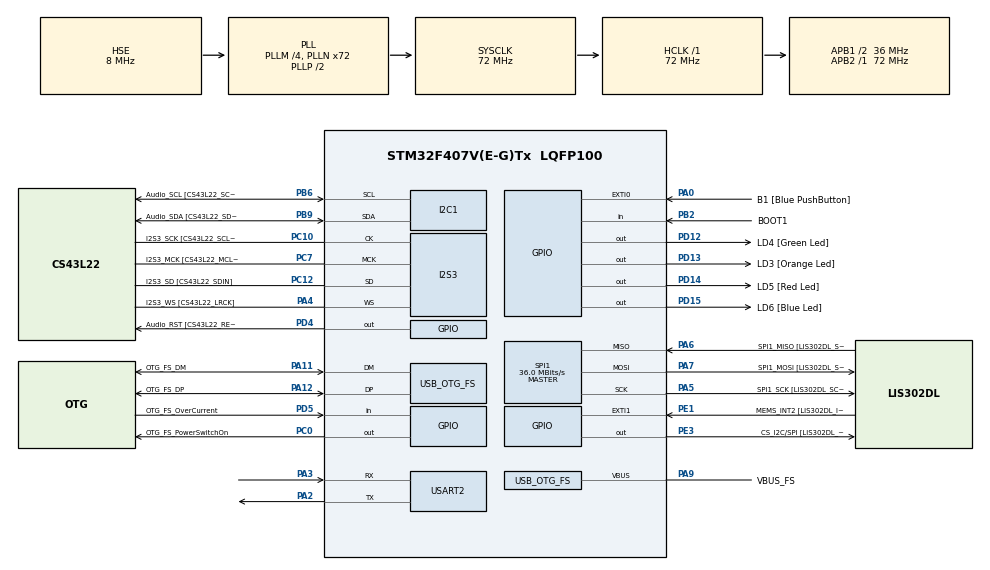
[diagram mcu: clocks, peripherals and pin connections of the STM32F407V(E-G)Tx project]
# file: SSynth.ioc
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Dma.Request0=SPI3_TX
Dma.SPI3_TX.0.Direction=DMA_MEMORY_TO_PERIPH
Dma.SPI3_TX.0.FIFOMode=DMA_FIFOMODE_ENABLE
Dma.SPI3_TX.0.FIFOThreshold=DMA_FIFO_THRESHOLD_FULL
Dma.SPI3_TX.0.Instance=DMA1_Stream7
Dma.SPI3_TX.0.MemBurst=DMA_MBURST_SINGLE
Dma.SPI3_TX.0.MemDataAlignment=DMA_MDATAALIGN_HALFWORD
Dma.SPI3_TX.0.MemInc=DMA_MINC_ENABLE
Dma.SPI3_TX.0.Mode=DMA_CIRCULAR
Dma.SPI3_TX.0.PeriphBurst=DMA_PBURST_SINGLE
Dma.SPI3_TX.0.PeriphDataAlignment=DMA_PDATAALIGN_HALFWORD
Dma.SPI3_TX.0.PeriphInc=DMA_PINC_DISABLE
Dma.SPI3_TX.0.Priority=DMA_PRIORITY_LOW
FREERTOS.Tasks01=defaultTask,24,128,StartDefaultTask,Default,NULL,Dynamic,NULL,NULL
FREERTOS.configUSE_NEWLIB_REENTRANT=1
I2S3.AudioFreq=I2S_AUDIOFREQ_48K
I2S3.AudioFreq-Half_Duplex_Master=I2S_AUDIOFREQ_96K
I2S3.ErrorAudioFreq=-2.34 %
I2S3.ErrorAudioFreq-Half_Duplex_Master=0.8 %
I2S3.FullDuplexMode=I2S_FULLDUPLEXMODE_DISABLE
I2S3.Instance=SPI$Index
I2S3.RealAudioFreq=46.875 KHz
I2S3.RealAudioFreq-Half_Duplex_Master=96.774 KHz
I2S3.VirtualMode=I2S_MODE_MASTER
Mcu.Family=STM32F4
Mcu.Name=STM32F407V(E-G)Tx
Mcu.Package=LQFP100
NVIC.DMA1_Stream7_IRQn=true\:5\:0\:false\:false\:true\:true\:false\:true\:true
NVIC.OTG_FS_IRQn=true\:5\:0\:false\:false\:true\:true\:true\:true\:true
NVIC.PriorityGroup=NVIC_PRIORITYGROUP_4
NVIC.TIM1_UP_TIM10_IRQn=true\:15\:0\:false\:false\:true\:false\:false\:true\:true
NVIC.TimeBase=TIM1_UP_TIM10_IRQn
NVIC.TimeBaseIP=TIM1
PA0-WKUP.GPIO_Label=B1 [Blue PushButton]
PA0-WKUP.GPIO_ModeDefaultEXTI=GPIO_MODE_EVT_RISING
PA0-WKUP.GPIO_PuPd=GPIO_NOPULL
PA0-WKUP.Signal=GPXTI0
PA10.GPIO_Label=OTG_FS_ID
PA10.GPIO_Mode=GPIO_MODE_AF_PP
PA10.GPIO_PuPd=GPIO_NOPULL
PA10.GPIO_Speed=GPIO_SPEED_FREQ_LOW
PA10.Signal=USB_OTG_FS_ID
PA11.GPIO_Label=OTG_FS_DM
PA11.GPIO_Mode=GPIO_MODE_AF_PP
PA11.GPIO_PuPd=GPIO_NOPULL
PA11.GPIO_Speed=GPIO_SPEED_FREQ_LOW
PA11.Mode=Device_Only
PA11.Signal=USB_OTG_FS_DM
PA12.GPIO_Label=OTG_FS_DP
PA12.GPIO_Mode=GPIO_MODE_AF_PP
PA12.GPIO_PuPd=GPIO_NOPULL
PA12.GPIO_Speed=GPIO_SPEED_FREQ_LOW
PA12.Mode=Device_Only
PA12.Signal=USB_OTG_FS_DP
PA13.GPIO_Label=SWDIO
PA13.Mode=Serial_Wire
PA13.Signal=SYS_JTMS-SWDIO
PA14.GPIO_Label=SWCLK
PA14.Mode=Serial_Wire
PA14.Signal=SYS_JTCK-SWCLK
PA2.Mode=Asynchronous
PA2.Signal=USART2_TX
PA3.Mode=Asynchronous
PA3.Signal=USART2_RX
PA4.GPIO_Label=I2S3_WS [CS43L22_LRCK]
PA4.GPIO_Mode=GPIO_MODE_AF_PP
PA4.GPIO_PuPd=GPIO_NOPULL
PA4.GPIO_Speed=GPIO_SPEED_FREQ_LOW
PA4.Mode=Half_Duplex_Master
PA4.Signal=I2S3_WS
PA5.GPIO_Label=SPI1_SCK [LIS302DL_SCL/SPC]
PA5.GPIO_Mode=GPIO_MODE_AF_PP
PA5.GPIO_PuPd=GPIO_NOPULL
PA5.GPIO_Speed=GPIO_SPEED_FREQ_LOW
PA5.Mode=Full_Duplex_Master
PA5.Signal=SPI1_SCK
PA6.GPIO_Label=SPI1_MISO [LIS302DL_SDO]
PA6.GPIO_Mode=GPIO_MODE_AF_PP
PA6.GPIO_PuPd=GPIO_NOPULL
PA6.GPIO_Speed=GPIO_SPEED_FREQ_LOW
PA6.Mode=Full_Duplex_Master
PA6.Signal=SPI1_MISO
PA7.GPIO_Label=SPI1_MOSI [LIS302DL_SDA/SDI/SDO]
PA7.GPIO_Mode=GPIO_MODE_AF_PP
PA7.GPIO_PuPd=GPIO_NOPULL
PA7.GPIO_Speed=GPIO_SPEED_FREQ_LOW
PA7.Mode=Full_Duplex_Master
PA7.Signal=SPI1_MOSI
PA9.GPIO_Label=VBUS_FS
PA9.GPIO_Mode=GPIO_MODE_INPUT
PA9.GPIO_PuPd=GPIO_NOPULL
PA9.Mode=Activate_VBUS
PA9.Signal=USB_OTG_FS_VBUS
PB10.GPIO_Label=CLK_IN [MP45DT02_CLK]
PB10.GPIO_Mode=GPIO_MODE_AF_PP
PB10.GPIO_PuPd=GPIO_NOPULL
PB10.GPIO_Speed=GPIO_SPEED_FREQ_LOW
PB10.Signal=I2S2_CK
PB2.GPIO_Label=BOOT1
PB2.GPIO_Mode=GPIO_MODE_INPUT
PB2.GPIO_PuPd=GPIO_NOPULL
PB2.Signal=GPIO_Input
PB3.GPIO_Label=SWO
PB3.Signal=SYS_JTDO-SWO
PB6.GPIO_Label=Audio_SCL [CS43L22_SCL]
PB6.GPIO_Mode=GPIO_MODE_AF_OD
PB6.GPIO_Pu=GPIO_PULLUP
PB6.GPIO_PuPd=GPIO_NOPULL
PB6.GPIO_Speed=GPIO_SPEED_FREQ_LOW
PB6.Mode=I2C
PB6.Signal=I2C1_SCL
PB9.GPIO_Label=Audio_SDA [CS43L22_SDA]
PB9.GPIO_Mode=GPIO_MODE_AF_OD
PB9.GPIO_Pu=GPIO_PULLUP
PB9.GPIO_PuPd=GPIO_NOPULL
PB9.GPIO_Speed=GPIO_SPEED_FREQ_LOW
PB9.Mode=I2C
PB9.Signal=I2C1_SDA
PC0.GPIO_Label=OTG_FS_PowerSwitchOn
PC0.GPIO_PuPd=GPIO_NOPULL
PC0.GPIO_Speed=GPIO_SPEED_FREQ_LOW
PC0.PinState=GPIO_PIN_SET
PC0.Signal=GPIO_Output
PC10.GPIO_Label=I2S3_SCK [CS43L22_SCLK]
PC10.GPIO_Mode=GPIO_MODE_AF_PP
PC10.GPIO_PuPd=GPIO_NOPULL
PC10.GPIO_Speed=GPIO_SPEED_FREQ_LOW
PC10.Mode=Half_Duplex_Master
PC10.Signal=I2S3_CK
PC12.GPIO_Label=I2S3_SD [CS43L22_SDIN]
PC12.GPIO_Mode=GPIO_MODE_AF_PP
PC12.GPIO_PuPd=GPIO_NOPULL
PC12.GPIO_Speed=GPIO_SPEED_FREQ_LOW
PC12.Mode=Half_Duplex_Master
PC12.Signal=I2S3_SD
PC14-OSC32_IN.GPIO_Label=PC14-OSC32_IN
PC14-OSC32_IN.Mode=LSE-External-Oscillator
PC14-OSC32_IN.Signal=RCC_OSC32_IN
PC15-OSC32_OUT.GPIO_Label=PC15-OSC32_OUT
PC15-OSC32_OUT.Mode=LSE-External-Oscillator
PC15-OSC32_OUT.Signal=RCC_OSC32_OUT
PC3.GPIO_Label=PDM_OUT [MP45DT02_DOUT]
PC3.GPIO_Mode=GPIO_MODE_AF_PP
PC3.GPIO_PuPd=GPIO_NOPULL
PC3.GPIO_Speed=GPIO_SPEED_FREQ_LOW
PC3.Signal=I2S2_SD
PC7.GPIO_Label=I2S3_MCK [CS43L22_MCLK]
PC7.GPIO_Mode=GPIO_MODE_AF_PP
PC7.GPIO_PuPd=GPIO_NOPULL
PC7.GPIO_Speed=GPIO_SPEED_FREQ_LOW
PC7.Mode=Master_Clock_Activated
PC7.Signal=I2S3_MCK
PD12.GPIO_Label=LD4 [Green Led]
PD12.GPIO_PuPd=GPIO_NOPULL
PD12.GPIO_Speed=GPIO_SPEED_FREQ_LOW
PD12.Signal=GPIO_Output
PD13.GPIO_Label=LD3 [Orange Led]
PD13.GPIO_PuPd=GPIO_NOPULL
PD13.GPIO_Speed=GPIO_SPEED_FREQ_LOW
PD13.Signal=GPIO_Output
PD14.GPIO_Label=LD5 [Red Led]
PD14.GPIO_PuPd=GPIO_NOPULL
PD14.GPIO_Speed=GPIO_SPEED_FREQ_LOW
PD14.Signal=GPIO_Output
PD15.GPIO_Label=LD6 [Blue Led]
PD15.GPIO_PuPd=GPIO_NOPULL
PD15.GPIO_Speed=GPIO_SPEED_FREQ_LOW
PD15.Signal=GPIO_Output
PD4.GPIO_Label=Audio_RST [CS43L22_RESET]
PD4.GPIO_PuPd=GPIO_NOPULL
PD4.GPIO_Speed=GPIO_SPEED_FREQ_LOW
PD4.Signal=GPIO_Output
PD5.GPIO_Label=OTG_FS_OverCurrent
PD5.GPIO_Mode=GPIO_MODE_INPUT
PD5.GPIO_PuPd=GPIO_NOPULL
PD5.Signal=GPIO_Input
PE1.GPIO_Label=MEMS_INT2 [LIS302DL_INT2]
PE1.GPIO_ModeDefaultEXTI=GPIO_MODE_EVT_RISING
PE1.GPIO_PuPd=GPIO_NOPULL
PE1.Signal=GPXTI1
PE3.GPIO_Label=CS_I2C/SPI [LIS302DL_CS_I2C/SPI]
PE3.GPIO_PuPd=GPIO_NOPULL
PE3.GPIO_Speed=GPIO_SPEED_FREQ_LOW
PE3.Signal=GPIO_Output
PH0-OSC_IN.GPIO_Label=PH0-OSC_IN
PH0-OSC_IN.Mode=HSE-External-Oscillator
PH0-OSC_IN.Signal=RCC_OSC_IN
PH1-OSC_OUT.GPIO_Label=PH1-OSC_OUT
PH1-OSC_OUT.Mode=HSE-External-Oscillator
PH1-OSC_OUT.Signal=RCC_OSC_OUT
ProjectManager.HeapSize=0x200
ProjectManager.StackSize=0x400
ProjectManager.TargetToolchain=STM32CubeIDE
RCC.48MHZClocksFreq_Value=48000000
RCC.AHBFreq_Value=72000000
RCC.APB1CLKDivider=RCC_HCLK_DIV2
RCC.APB1Freq_Value=36000000
RCC.APB1TimFreq_Value=72000000
RCC.APB2Freq_Value=72000000
RCC.APB2TimFreq_Value=72000000
RCC.CortexFreq_Value=72000000
RCC.HCLKFreq_Value=72000000
RCC.HSE_VALUE=8000000
RCC.HSI_VALUE=16000000
RCC.PLLI2SN=96
RCC.PLLM=4
RCC.PLLN=72
RCC.PLLQ=3
RCC.SYSCLKFreq_VALUE=72000000
RCC.SYSCLKSource=RCC_SYSCLKSOURCE_PLLCLK
RCC.VCOOutputFreq_Value=144000000
SPI1.BaudRatePrescaler-Full_Duplex_Master=SPI_BAUDRATEPRESCALER_2
SPI1.CalculateBaudRate=36.0 MBits/s
SPI1.CalculateBaudRate-Full_Duplex_Master=42.0 MBits/s
SPI1.Direction=SPI_DIRECTION_2LINES
SPI1.Mode=SPI_MODE_MASTER
SPI1.Mode-Full_Duplex_Master=SPI_MODE_MASTER
SPI1.VirtualType=VM_MASTER
USART2.VirtualMode=VM_ASYNC
USB_DEVICE.CLASS_NAME_FS=CDC
USB_DEVICE.VirtualMode-CDC_FS=Cdc
USB_DEVICE.VirtualModeFS=Cdc_FS
USB_OTG_FS.VirtualMode=Device_Only
VP_FREERTOS_VS_CMSIS_V2.Mode=CMSIS_V2
VP_SYS_VS_tim1.Mode=TIM1
VP_USB_DEVICE_VS_USB_DEVICE_CDC_FS.Mode=CDC_FS
board=STM32F407G-DISC1

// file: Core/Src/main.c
/* USER CODE BEGIN Header */
/**
  ******************************************************************************
  * @file           : main.c
  * @brief          : Main program body
  ******************************************************************************
  * @attention
  *
  * Copyright (c) 2026 STMicroelectronics.
  * All rights reserved.
  *
  * This software is licensed under terms that can be found in the LICENSE file
  * in the root directory of this software component.
  * If no LICENSE file comes with this software, it is provided AS-IS.
  *
  ******************************************************************************
  */
/* USER CODE END Header */
#include "main.h"
#include "cmsis_os.h"
#include "usb_device.h"

/* USER CODE BEGIN Includes */
#include "stm32f4_discovery_audio.h"
#include "math.h"
#include "audio_settings.h"
#include "debug_uart.h"
#include "queue.h"
#include "usbd_midi.h"
#include "midi_event.h"
/* USER CODE END Includes */

I2C_HandleTypeDef hi2c1;

I2S_HandleTypeDef hi2s3;
DMA_HandleTypeDef hdma_spi3_tx;

SPI_HandleTypeDef hspi1;

UART_HandleTypeDef huart2;

/* Definitions for defaultTask */
osThreadId_t defaultTaskHandle;
const osThreadAttr_t defaultTask_attributes = {
  .name = "defaultTask",
  .stack_size = 1024 * 4,
  .priority = (osPriority_t) osPriorityNormal,
};
osThreadId_t debugUartTaskHandle;
const osThreadAttr_t debugTask_attributes = {
  .name = "DebugUART",
  .stack_size = 512 * 4,
  .priority = (osPriority_t) osPriorityNormal,
};
const osThreadAttr_t audioInitTask_attributes = {
  .name = "AudioInit",
  .stack_size = 512 * 4,
  .priority = (osPriority_t) osPriorityLow,
};
osThreadId_t midiTaskHandle;
const osThreadAttr_t midiTask_attributes = {
  .name = "midiTask",
  .stack_size = 512 * 4,
  .priority = (osPriority_t) osPriorityHigh,
};
/* USER CODE BEGIN PV */
xQueueHandle midiQueue;
/* USER CODE END PV */

void SystemClock_Config(void);
static void MX_GPIO_Init(void);
static void MX_DMA_Init(void);
static void MX_I2C1_Init(void);
static void MX_I2S3_Init(void);
static void MX_SPI1_Init(void);
static void MX_USART2_UART_Init(void);
void StartDefaultTask(void *argument);

/* USER CODE BEGIN PFP */
void OnMIDIReceive(uint8_t *msg, uint32_t len);
void AudioTask(void *pv);
void MidiTask(void *pv);
/* USER CODE END PFP */

/* USER CODE BEGIN 0 */
#define WAVETABLE_LENGTH 64
uint16_t audio_buffer[AUDIO_BUFFER_SIZE];
float wavetable[WAVETABLE_LENGTH];
volatile uint8_t audio_muted = 0;

typedef enum {
    ENV_IDLE,
    ENV_ATTACK,
    ENV_SUSTAIN,
    ENV_RELEASE
} EnvState;

typedef struct {
    float phase;
    float frequency;
    float volume;
    uint8_t active;
    uint8_t midi_note;
    float phase_inc;

    // envelope
    EnvState env_state;
    float env_amplitude;   // current amplitude 0.0 to 1.0
    float attack_rate;     // amplitude increase per sample
    float release_rate;    // amplitude decrease per sample
} Voice;

#define MAX_VOICES 4

#define UNISON_VOICES     16
#define DETUNE_CENTS      10.0f

Voice voices[MAX_VOICES] = {0};
float MIDI_to_frequency(uint8_t note);

#define NUM_WAVETABLES 4
typedef enum {
    WT_SINE = 0,
    WT_SAW,
    WT_SQUARE,
    WT_TRIANGLE
} WavetableType;

volatile WavetableType current_wavetable = WT_SINE;
typedef struct {
    const char *name;
    void (*fill_wavetable)(void);
    float reverb_decay;
    uint32_t reverb_delay_samples;
    float attack_ms;
    float release_ms;
} SynthPreset;

void wt_supersaw(void) {
	for (int i = 0; i < WAVETABLE_LENGTH; i++)
		wavetable[i] = 0.0f;

	for (int u = 0; u < UNISON_VOICES; u++) {
		float detune_cents = -DETUNE_CENTS * 0.5f
						   + (DETUNE_CENTS * u) / (float)(UNISON_VOICES - 1);

		float ratio = powf(2.0f, detune_cents / 1200.0f);

		for (int i = 0; i < WAVETABLE_LENGTH; i++) {
			float t = (float)i / (float)WAVETABLE_LENGTH;
			float pos = fmodf(t * ratio, 1.0f);
			wavetable[i] += 2.0f * pos - 1.0f;
		}
	}

	float peak = 0.0f;
	for (int i = 0; i < WAVETABLE_LENGTH; i++) {
		float abs_val = fabsf(wavetable[i]);
		if (abs_val > peak) peak = abs_val;
	}
	if (peak > 0.0f) {
		for (int i = 0; i < WAVETABLE_LENGTH; i++)
			wavetable[i] /= peak;
	}
}

void wt_sine(void) {
    for (int i = 0; i < WAVETABLE_LENGTH; i++)
        wavetable[i] = sinf((2.0f * M_PI * i) / WAVETABLE_LENGTH);
}

void wt_square(void) {
    for (int i = 0; i < WAVETABLE_LENGTH; i++)
        wavetable[i] = (i < WAVETABLE_LENGTH / 2) ? 1.0f : -1.0f;
}

void wt_triangle(void) {
    for (int i = 0; i < WAVETABLE_LENGTH; i++) {
        float t = (float)i / WAVETABLE_LENGTH;
        wavetable[i] = (t < 0.5f) ? (4.0f*t - 1.0f) : (3.0f - 4.0f*t);
    }
}

typedef struct {
    float   decay;
    uint32_t delay_samples;
} ReverbParams;

#define REVERB_DELAY_MAX 9600
#define REVERB_DECAY 0.5f

volatile ReverbParams active_reverb = { REVERB_DECAY, REVERB_DELAY_MAX };

static const SynthPreset presets[] = {
    //  name          fill_fn       reverb_decay  delay_ms→samples   attack  release
    { "SuperSaw",   wt_supersaw,   0.7f,          4800,              10.0f,  10.0f },
    { "Sine Pad",   wt_sine,       0.75f,         9600,              1000.0f,  1000.0f },
    { "Square",     wt_square,     0.2f,           960,               5.0f,   50.0f },
    { "Triangle",   wt_triangle,   0.4f,          2400,              15.0f,  150.0f },
};
#define NUM_PRESETS (sizeof(presets) / sizeof(presets[0]))

volatile uint8_t current_preset_idx = 0;

void init_wavetable(void) {
    const SynthPreset *p = &presets[current_preset_idx];
    p->fill_wavetable();
}

uint16_t float2uint16(float f)
{
    if (f >  1.0f) f =  1.0f;
    if (f < -1.0f) f = -1.0f;
    return (uint16_t)(int16_t)(f * 32767.0f);
}

static float reverb_buffer[REVERB_DELAY_MAX] = {0};
static uint32_t reverb_write_idx = 0;

float process_reverb(float sample)
{
    uint32_t delay  = active_reverb.delay_samples;
    float    decay  = active_reverb.decay;

    if (delay == 0)            delay = 1;
    if (delay > REVERB_DELAY_MAX) delay = REVERB_DELAY_MAX;

    uint32_t read_idx = (reverb_write_idx + REVERB_DELAY_MAX - delay) % REVERB_DELAY_MAX;
    float delayed = reverb_buffer[read_idx];

    reverb_buffer[reverb_write_idx] = sample + delayed * decay;

    reverb_write_idx = (reverb_write_idx + 1) % REVERB_DELAY_MAX;

    return sample * 0.7f + delayed * 0.3f;
}
void fill_buffer(uint32_t start_frame, uint32_t num_frames)
{
    for (int frame = start_frame; frame < start_frame + num_frames; frame++) {
    	if (audio_muted) {
			audio_buffer[2 * frame]     = 0;
			audio_buffer[2 * frame + 1] = 0;
			continue;
		}

    	float mixed = 0.0f;
        int active_count = 0;

        for (int v = 0; v < MAX_VOICES; v++) {
            if (!voices[v].active) continue;

            switch (voices[v].env_state) {
                case ENV_ATTACK:
                    voices[v].env_amplitude += voices[v].attack_rate;
                    if (voices[v].env_amplitude >= 1.0f) {
                        voices[v].env_amplitude = 1.0f;
                        voices[v].env_state = ENV_SUSTAIN;
                    }
                    break;
                case ENV_RELEASE:
                    voices[v].env_amplitude -= voices[v].release_rate;
                    if (voices[v].env_amplitude <= 0.0f) {
                        voices[v].env_amplitude = 0.0f;
                        voices[v].env_state = ENV_IDLE;
                        voices[v].active = 0;
                    }
                    break;
                default:
                    break;
            }

            float phase_inc = voices[v].phase_inc;
            mixed += voices[v].env_amplitude * voices[v].volume
                     * wavetable[(uint32_t)voices[v].phase % WAVETABLE_LENGTH];

            voices[v].phase += phase_inc;
            if (voices[v].phase >= WAVETABLE_LENGTH)
                voices[v].phase -= WAVETABLE_LENGTH;

            active_count++;
        }

        if (active_count > 0)
            mixed /= MAX_VOICES;

        mixed = process_reverb(mixed);

        uint16_t sample = float2uint16(mixed);
        audio_buffer[2 * frame]     = sample;
        audio_buffer[2 * frame + 1] = sample;
    }
}

void BSP_AUDIO_OUT_HalfTransfer_CallBack(void)
{
    fill_buffer(0, AUDIO_BUFFER_SAMPLES);
}

void BSP_AUDIO_OUT_TransferComplete_CallBack(void)
{
    fill_buffer(AUDIO_BUFFER_SAMPLES, AUDIO_BUFFER_SAMPLES);
}
uint16_t* get_synth_audio_buffer(void) {
	return audio_buffer;
}

void init_audio(void) {
	init_wavetable();
	if (BSP_AUDIO_OUT_Init(OUTPUT_DEVICE_HEADPHONE, VOLUME, SAMPLE_RATE) != AUDIO_OK) {
		Error_Handler();
	}

	fill_buffer(0, AUDIO_BUFFER_SAMPLES);
	fill_buffer(AUDIO_BUFFER_SAMPLES, AUDIO_BUFFER_SAMPLES);

	BSP_AUDIO_OUT_Play(&(audio_buffer[0]), AUDIO_BUFFER_SIZE * sizeof(uint16_t));
}
/* USER CODE END 0 */

int main(void)
{

  /* USER CODE BEGIN 1 */

	__HAL_RCC_WWDG_CLK_DISABLE();
  /* USER CODE END 1 */

  /* MCU Configuration--------------------------------------------------------*/

  /* Reset of all peripherals, Initializes the Flash interface and the Systick. */
  HAL_Init();

  __HAL_RCC_GPIOD_CLK_ENABLE();

  WWDG->CR &= ~WWDG_CR_WDGA;
  HAL_GPIO_WritePin(GPIOD, LD3_Pin, GPIO_PIN_SET);

  /* Configure the system clock */
  SystemClock_Config();

  /* Initialize all configured peripherals */
  MX_GPIO_Init();
  MX_DMA_Init();
  MX_I2C1_Init();
  MX_I2S3_Init();
  MX_SPI1_Init();
  MX_USART2_UART_Init();
  /* USER CODE BEGIN 2 */
  // Force USB disconnect BEFORE USB peripheral init
  // Disable USB OTG clock first so we can control PA12 as GPIO
  __HAL_RCC_USB_OTG_FS_FORCE_RESET();
  HAL_Delay(50);
  __HAL_RCC_USB_OTG_FS_RELEASE_RESET();

  // Now drive D+ low as plain GPIO
  __HAL_RCC_GPIOA_CLK_ENABLE();
  GPIO_InitTypeDef GPIO_InitStruct = {0};
  GPIO_InitStruct.Pin = GPIO_PIN_12;
  GPIO_InitStruct.Mode = GPIO_MODE_OUTPUT_PP;
  GPIO_InitStruct.Pull = GPIO_NOPULL;
  GPIO_InitStruct.Speed = GPIO_SPEED_FREQ_LOW;
  HAL_GPIO_Init(GPIOA, &GPIO_InitStruct);
  HAL_GPIO_WritePin(GPIOA, GPIO_PIN_12, GPIO_PIN_RESET);
  HAL_Delay(100);  // Host sees disconnect here

  // Release PA12 — USB peripheral will reclaim it during USBD_Init
  HAL_GPIO_DeInit(GPIOA, GPIO_PIN_12);

  Debug_Init();
  Debug_Print("UART TEST");
  MIDI_RegisterReceiveCallback(OnMIDIReceive);

  /* USER CODE END 2 */

  /* Init scheduler */
  osKernelInitialize();

  /* USER CODE BEGIN RTOS_QUEUES */
  midiQueue = xQueueCreate(64, sizeof(MidiEvent_t));
  /* USER CODE END RTOS_QUEUES */

  /* Create the thread(s) */
  /* creation of defaultTask */
  defaultTaskHandle = osThreadNew(StartDefaultTask, NULL, &defaultTask_attributes);

  /* USER CODE BEGIN RTOS_THREADS */
  /* add threads, ... */
  debugUartTaskHandle = osThreadNew(DebugUartTask, NULL, &debugTask_attributes);
  midiTaskHandle = osThreadNew(MidiTask, NULL, &midiTask_attributes);

//  xTaskCreate(DebugUartTask, "DBG",  256, NULL, 1, NULL);
//  xTaskCreate(AudioTask,     "AUD",  512, NULL, 5, NULL);
//  xTaskCreate(MidiTask,      "MIDI", 256, NULL, 3, NULL);
  /* USER CODE END RTOS_THREADS */

  /* Start scheduler */
  osKernelStart();

  /* We should never get here as control is now taken by the scheduler */

  /* Infinite loop */
  /* USER CODE BEGIN WHILE */
  while (1)
  {
  }
  /* USER CODE END 3 */
}

void SystemClock_Config(void)
{
  RCC_OscInitTypeDef RCC_OscInitStruct = {0};
  RCC_ClkInitTypeDef RCC_ClkInitStruct = {0};

  /** Configure the main internal regulator output voltage
  */
  __HAL_RCC_PWR_CLK_ENABLE();
  __HAL_PWR_VOLTAGESCALING_CONFIG(PWR_REGULATOR_VOLTAGE_SCALE1);

  /** Initializes the RCC Oscillators according to the specified parameters
  * in the RCC_OscInitTypeDef structure.
  */
  RCC_OscInitStruct.OscillatorType = RCC_OSCILLATORTYPE_HSE;
  RCC_OscInitStruct.HSEState = RCC_HSE_ON;
  RCC_OscInitStruct.PLL.PLLState = RCC_PLL_ON;
  RCC_OscInitStruct.PLL.PLLSource = RCC_PLLSOURCE_HSE;
  RCC_OscInitStruct.PLL.PLLM = 4;
  RCC_OscInitStruct.PLL.PLLN = 72;
  RCC_OscInitStruct.PLL.PLLP = RCC_PLLP_DIV2;
  RCC_OscInitStruct.PLL.PLLQ = 3;
  if (HAL_RCC_OscConfig(&RCC_OscInitStruct) != HAL_OK)
  {
    Error_Handler();
  }

  /** Initializes the CPU, AHB and APB buses clocks
  */
  RCC_ClkInitStruct.ClockType = RCC_CLOCKTYPE_HCLK|RCC_CLOCKTYPE_SYSCLK
                              |RCC_CLOCKTYPE_PCLK1|RCC_CLOCKTYPE_PCLK2;
  RCC_ClkInitStruct.SYSCLKSource = RCC_SYSCLKSOURCE_PLLCLK;
  RCC_ClkInitStruct.AHBCLKDivider = RCC_SYSCLK_DIV1;
  RCC_ClkInitStruct.APB1CLKDivider = RCC_HCLK_DIV2;
  RCC_ClkInitStruct.APB2CLKDivider = RCC_HCLK_DIV1;

  if (HAL_RCC_ClockConfig(&RCC_ClkInitStruct, FLASH_LATENCY_2) != HAL_OK)
  {
    Error_Handler();
  }
}

static void MX_I2C1_Init(void)
{

  hi2c1.Instance = I2C1;
  hi2c1.Init.ClockSpeed = 100000;
  hi2c1.Init.DutyCycle = I2C_DUTYCYCLE_2;
  hi2c1.Init.OwnAddress1 = 0;
  hi2c1.Init.AddressingMode = I2C_ADDRESSINGMODE_7BIT;
  hi2c1.Init.DualAddressMode = I2C_DUALADDRESS_DISABLE;
  hi2c1.Init.OwnAddress2 = 0;
  hi2c1.Init.GeneralCallMode = I2C_GENERALCALL_DISABLE;
  hi2c1.Init.NoStretchMode = I2C_NOSTRETCH_DISABLE;
  if (HAL_I2C_Init(&hi2c1) != HAL_OK)
  {
    Error_Handler();
  }

}

static void MX_I2S3_Init(void)
{

  hi2s3.Instance = SPI3;
  hi2s3.Init.Mode = I2S_MODE_MASTER_TX;
  hi2s3.Init.Standard = I2S_STANDARD_PHILIPS;
  hi2s3.Init.DataFormat = I2S_DATAFORMAT_16B;
  hi2s3.Init.MCLKOutput = I2S_MCLKOUTPUT_ENABLE;
  hi2s3.Init.AudioFreq = I2S_AUDIOFREQ_48K;
  hi2s3.Init.CPOL = I2S_CPOL_LOW;
  hi2s3.Init.ClockSource = I2S_CLOCK_PLL;
  hi2s3.Init.FullDuplexMode = I2S_FULLDUPLEXMODE_DISABLE;
  if (HAL_I2S_Init(&hi2s3) != HAL_OK)
  {
    Error_Handler();
  }

}

static void MX_SPI1_Init(void)
{

  /* SPI1 parameter configuration*/
  hspi1.Instance = SPI1;
  hspi1.Init.Mode = SPI_MODE_MASTER;
  hspi1.Init.Direction = SPI_DIRECTION_2LINES;
  hspi1.Init.DataSize = SPI_DATASIZE_8BIT;
  hspi1.Init.CLKPolarity = SPI_POLARITY_LOW;
  hspi1.Init.CLKPhase = SPI_PHASE_1EDGE;
  hspi1.Init.NSS = SPI_NSS_SOFT;
  hspi1.Init.BaudRatePrescaler = SPI_BAUDRATEPRESCALER_2;
  hspi1.Init.FirstBit = SPI_FIRSTBIT_MSB;
  hspi1.Init.TIMode = SPI_TIMODE_DISABLE;
  hspi1.Init.CRCCalculation = SPI_CRCCALCULATION_DISABLE;
  hspi1.Init.CRCPolynomial = 10;
  if (HAL_SPI_Init(&hspi1) != HAL_OK)
  {
    Error_Handler();
  }

}

static void MX_USART2_UART_Init(void)
{

  huart2.Instance = USART2;
  huart2.Init.BaudRate = 115200;
  huart2.Init.WordLength = UART_WORDLENGTH_8B;
  huart2.Init.StopBits = UART_STOPBITS_1;
  huart2.Init.Parity = UART_PARITY_NONE;
  huart2.Init.Mode = UART_MODE_TX_RX;
  huart2.Init.HwFlowCtl = UART_HWCONTROL_NONE;
  huart2.Init.OverSampling = UART_OVERSAMPLING_16;
  if (HAL_UART_Init(&huart2) != HAL_OK)
  {
    Error_Handler();
  }

}

static void MX_DMA_Init(void)
{

  /* DMA controller clock enable */
  __HAL_RCC_DMA1_CLK_ENABLE();

  /* DMA interrupt init */
  /* DMA1_Stream7_IRQn interrupt configuration */
  HAL_NVIC_SetPriority(DMA1_Stream7_IRQn, 5, 0);
  HAL_NVIC_EnableIRQ(DMA1_Stream7_IRQn);

}

static void MX_GPIO_Init(void)
{
  GPIO_InitTypeDef GPIO_InitStruct = {0};

  /* GPIO Ports Clock Enable */
  __HAL_RCC_GPIOE_CLK_ENABLE();
  __HAL_RCC_GPIOC_CLK_ENABLE();
  __HAL_RCC_GPIOH_CLK_ENABLE();
  __HAL_RCC_GPIOA_CLK_ENABLE();
  __HAL_RCC_GPIOB_CLK_ENABLE();
  __HAL_RCC_GPIOD_CLK_ENABLE();

  /*Configure GPIO pin Output Level */
  HAL_GPIO_WritePin(CS_I2C_SPI_GPIO_Port, CS_I2C_SPI_Pin, GPIO_PIN_RESET);

  /*Configure GPIO pin Output Level */
  HAL_GPIO_WritePin(OTG_FS_PowerSwitchOn_GPIO_Port, OTG_FS_PowerSwitchOn_Pin, GPIO_PIN_SET);

  /*Configure GPIO pin Output Level */
  HAL_GPIO_WritePin(GPIOD, LD4_Pin|LD3_Pin|LD5_Pin|LD6_Pin
                          |Audio_RST_Pin, GPIO_PIN_RESET);

  /*Configure GPIO pin : CS_I2C_SPI_Pin */
  GPIO_InitStruct.Pin = CS_I2C_SPI_Pin;
  GPIO_InitStruct.Mode = GPIO_MODE_OUTPUT_PP;
  GPIO_InitStruct.Pull = GPIO_NOPULL;
  GPIO_InitStruct.Speed = GPIO_SPEED_FREQ_LOW;
  HAL_GPIO_Init(CS_I2C_SPI_GPIO_Port, &GPIO_InitStruct);

  /*Configure GPIO pin : OTG_FS_PowerSwitchOn_Pin */
  GPIO_InitStruct.Pin = OTG_FS_PowerSwitchOn_Pin;
  GPIO_InitStruct.Mode = GPIO_MODE_OUTPUT_PP;
  GPIO_InitStruct.Pull = GPIO_NOPULL;
  GPIO_InitStruct.Speed = GPIO_SPEED_FREQ_LOW;
  HAL_GPIO_Init(OTG_FS_PowerSwitchOn_GPIO_Port, &GPIO_InitStruct);

  /*Configure GPIO pin : PDM_OUT_Pin */
  GPIO_InitStruct.Pin = PDM_OUT_Pin;
  GPIO_InitStruct.Mode = GPIO_MODE_AF_PP;
  GPIO_InitStruct.Pull = GPIO_NOPULL;
  GPIO_InitStruct.Speed = GPIO_SPEED_FREQ_LOW;
  GPIO_InitStruct.Alternate = GPIO_AF5_SPI2;
  HAL_GPIO_Init(PDM_OUT_GPIO_Port, &GPIO_InitStruct);

  /*Configure GPIO pin : B1_Pin */
  GPIO_InitStruct.Pin = B1_Pin;
  GPIO_InitStruct.Mode = GPIO_MODE_IT_RISING;
  GPIO_InitStruct.Pull = GPIO_NOPULL;
  HAL_GPIO_Init(B1_GPIO_Port, &GPIO_InitStruct);
  HAL_NVIC_SetPriority(EXTI0_IRQn, 6, 0);
  HAL_NVIC_EnableIRQ(EXTI0_IRQn);

  /*Configure GPIO pin : BOOT1_Pin */
  GPIO_InitStruct.Pin = BOOT1_Pin;
  GPIO_InitStruct.Mode = GPIO_MODE_INPUT;
  GPIO_InitStruct.Pull = GPIO_NOPULL;
  HAL_GPIO_Init(BOOT1_GPIO_Port, &GPIO_InitStruct);

  /*Configure GPIO pin : CLK_IN_Pin */
  GPIO_InitStruct.Pin = CLK_IN_Pin;
  GPIO_InitStruct.Mode = GPIO_MODE_AF_PP;
  GPIO_InitStruct.Pull = GPIO_NOPULL;
  GPIO_InitStruct.Speed = GPIO_SPEED_FREQ_LOW;
  GPIO_InitStruct.Alternate = GPIO_AF5_SPI2;
  HAL_GPIO_Init(CLK_IN_GPIO_Port, &GPIO_InitStruct);

  /*Configure GPIO pins : LD4_Pin LD3_Pin LD5_Pin LD6_Pin
                           Audio_RST_Pin */
  GPIO_InitStruct.Pin = LD4_Pin|LD3_Pin|LD5_Pin|LD6_Pin
                          |Audio_RST_Pin;
  GPIO_InitStruct.Mode = GPIO_MODE_OUTPUT_PP;
  GPIO_InitStruct.Pull = GPIO_NOPULL;
  GPIO_InitStruct.Speed = GPIO_SPEED_FREQ_LOW;
  HAL_GPIO_Init(GPIOD, &GPIO_InitStruct);

  /*Configure GPIO pin : OTG_FS_OverCurrent_Pin */
  GPIO_InitStruct.Pin = OTG_FS_OverCurrent_Pin;
  GPIO_InitStruct.Mode = GPIO_MODE_INPUT;
  GPIO_InitStruct.Pull = GPIO_NOPULL;
  HAL_GPIO_Init(OTG_FS_OverCurrent_GPIO_Port, &GPIO_InitStruct);

  /*Configure GPIO pin : MEMS_INT2_Pin */
  GPIO_InitStruct.Pin = MEMS_INT2_Pin;
  GPIO_InitStruct.Mode = GPIO_MODE_EVT_RISING;
  GPIO_InitStruct.Pull = GPIO_NOPULL;
  HAL_GPIO_Init(MEMS_INT2_GPIO_Port, &GPIO_InitStruct);

}

/* USER CODE BEGIN 4 */
void MidiTask(void *pv) {
    for (;;) {
        MidiEvent_t evt;
        xQueueReceive(midiQueue, &evt, portMAX_DELAY);

		if (evt.status >= 0x80 && evt.status <= 0x8F)
		{
			for (int v = 0; v < MAX_VOICES; v++) {
				if (voices[v].active &&
					voices[v].midi_note == evt.note &&
					voices[v].env_state != ENV_RELEASE) {
					voices[v].env_state = ENV_RELEASE;
				}
			}
		}
		else if (evt.status >= 0x90 && evt.status <= 0x9F)
		{
			if (evt.velocity == 0) {
				for (int v = 0; v < MAX_VOICES; v++) {
					if (voices[v].active &&
						voices[v].midi_note == evt.note &&
						voices[v].env_state != ENV_RELEASE) {
						voices[v].env_state = ENV_RELEASE;
					}
				}
			}
			else {
			    const SynthPreset *p = &presets[current_preset_idx];
			    float freq = MIDI_to_frequency(evt.note);
			    float vol  = evt.velocity / 127.0f;
			    float att  = 1.0f / (p->attack_ms  * 0.001f * SAMPLE_RATE);
			    float rel  = 1.0f / (p->release_ms * 0.001f * SAMPLE_RATE);

			    int target = -1;
			    float lowest_amp = 2.0f;

			    taskENTER_CRITICAL();

			    for (int v = 0; v < MAX_VOICES; v++) {
			        if (!voices[v].active) { target = v; break; }
			    }

			    if (target == -1) {
			        for (int v = 0; v < MAX_VOICES; v++) {
			            if (voices[v].env_state == ENV_RELEASE &&
			                voices[v].env_amplitude < lowest_amp) {
			                lowest_amp = voices[v].env_amplitude;
			                target = v;
			            }
			        }
			    }

			    if (target == -1) target = 0;

			    voices[target].frequency     = freq;
			    voices[target].phase_inc = (freq / SAMPLE_RATE) * WAVETABLE_LENGTH;
			    voices[target].volume        = vol;
			    voices[target].phase         = 0.0f;
			    voices[target].env_amplitude = 0.0f;
			    voices[target].env_state     = ENV_ATTACK;
			    voices[target].attack_rate   = att;
			    voices[target].release_rate  = rel;
			    voices[target].midi_note     = evt.note;
			    voices[target].active        = 1;

			    taskEXIT_CRITICAL();
			}
		}
    }
}

float MIDI_to_frequency(uint8_t note) {
	return powf(2, (note - 69.0f) / 12.0f) * 440.0f;
}

void OnMIDIReceive(uint8_t *msg, uint32_t len)
{
    for (uint32_t i = 0; i + 3 < len; i += 4) {
        uint8_t status = msg[i + 1];

        uint8_t msg_type = status & 0xF0;
        if (msg_type != 0x80 && msg_type != 0x90) continue;

        MidiEvent_t evt = {0};
        evt.status   = status;
        evt.msg_type = msg_type;
        evt.channel  = status & 0x0F;
        evt.note     = msg[i + 2];
        evt.velocity = msg[i + 3];

        BaseType_t xHigherPriorityTaskWoken = pdFALSE;
        xQueueSendToBackFromISR(midiQueue, &evt, &xHigherPriorityTaskWoken);
        portYIELD_FROM_ISR(xHigherPriorityTaskWoken);
    }
}

void HAL_GPIO_EXTI_Callback(uint16_t GPIO_Pin) {
	if (GPIO_Pin == B1_Pin) {
		static uint32_t last_press = 0;
		uint32_t now = HAL_GetTick();
		if (now - last_press < 300) return;
		last_press = now;

		BaseType_t xHigherPriorityTaskWoken = pdFALSE;
		vTaskNotifyGiveFromISR(defaultTaskHandle, &xHigherPriorityTaskWoken);
		portYIELD_FROM_ISR(xHigherPriorityTaskWoken);
	}
}
/* USER CODE END 4 */

void StartDefaultTask(void *argument)
{
  /* init code for USB_DEVICE */
  MX_USB_DEVICE_Init();
  /* USER CODE BEGIN 5 */
  init_audio();

  /* Infinite loop */
  for (;;) {
          ulTaskNotifyTake(pdTRUE, portMAX_DELAY);

          audio_muted = 1;

          __DMB();
          for (int v = 0; v < MAX_VOICES; v++) {
              voices[v].active = 0;
              voices[v].env_state = ENV_IDLE;
              voices[v].env_amplitude = 0.0f;
          }

          current_preset_idx = (current_preset_idx + 1) % NUM_PRESETS;
          init_wavetable();
          __DMB();
          audio_muted = 0;
      }
  /* USER CODE END 5 */
}

void HAL_TIM_PeriodElapsedCallback(TIM_HandleTypeDef *htim)
{
  if (htim->Instance == TIM1)
  {
    HAL_IncTick();
  }
}

void Error_Handler(void)
{
  __disable_irq();
  while (1)
  {
  }
}
